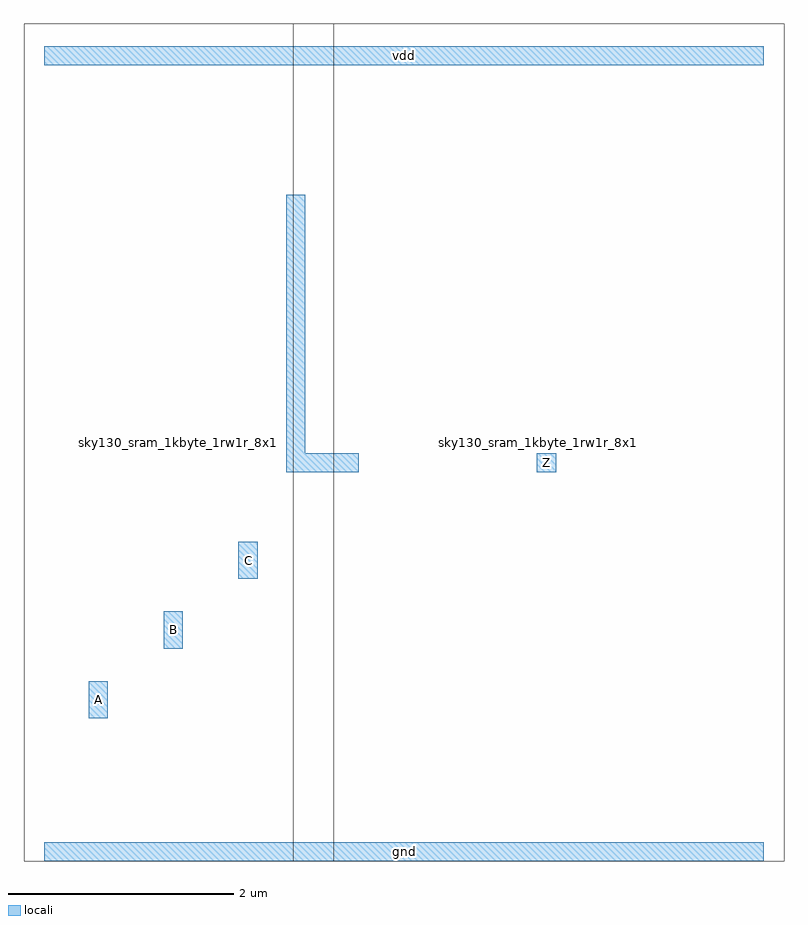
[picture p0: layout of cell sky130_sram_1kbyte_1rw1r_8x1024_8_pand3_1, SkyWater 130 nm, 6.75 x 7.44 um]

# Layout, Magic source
magic
tech sky130A
magscale 1 2
<< locali >>
rect 0 1397 1278 1431
rect 430 708 464 1167
rect 430 674 559 708
rect 875 674 909 708
rect 345 485 379 551
rect 212 361 246 427
rect 79 237 113 303
rect 0 -17 1278 17
use sky130_sram_1kbyte_1rw1r_8x1024_8_pdriver_5  sky130_sram_1kbyte_1rw1r_8x1024_8_pdriver_5_0
transform 1 0 478 0 1 0
box -36 -17 836 1471
use sky130_sram_1kbyte_1rw1r_8x1024_8_pnand3  sky130_sram_1kbyte_1rw1r_8x1024_8_pnand3_0
transform 1 0 0 0 1 0
box -36 -17 514 1471
<< labels >>
rlabel locali s 892 691 892 691 4 Z
port 1 nsew
rlabel locali s 96 270 96 270 4 A
port 2 nsew
rlabel locali s 229 394 229 394 4 B
port 3 nsew
rlabel locali s 362 518 362 518 4 C
port 4 nsew
rlabel locali s 639 0 639 0 4 gnd
port 5 nsew
rlabel locali s 639 1414 639 1414 4 vdd
port 6 nsew
<< properties >>
string FIXED_BBOX 0 0 1278 1414
string GDS_FILE $PDKPATH/libs.ref/sky130_sram_macros/gds/sky130_sram_1kbyte_1rw1r_8x1024_8.gds
string GDS_END 6089524
string GDS_START 6088276
<< end >>
